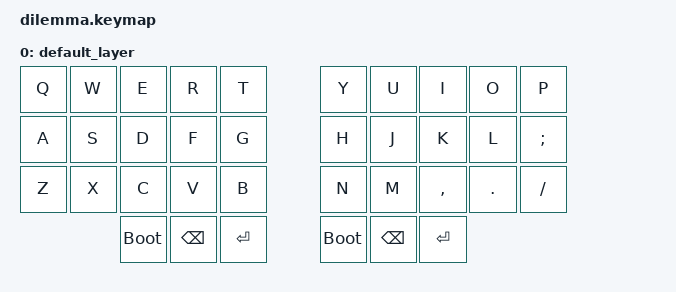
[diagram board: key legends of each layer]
/*
 * Copyright (c) 2024 burkfers
 *
 * SPDX-License-Identifier: MIT
 */

#include <behaviors.dtsi>
#include <dt-bindings/zmk/keys.h>

/ {
    keymap {
        compatible = "zmk,keymap";

        default_layer {
            bindings = <
// ╭──────────────┬─────────────┬─────────────┬─────────────┬─────────────╮   ╭─────────────┬─────────────┬─────────────┬─────────────┬─────────────╮
      &kp Q         &kp W         &kp E         &kp R         &kp T             &kp Y         &kp U         &kp I         &kp O         &kp P  
// ├──────────────┼─────────────┼─────────────┼─────────────┼─────────────┤   ├─────────────┼─────────────┼─────────────┼─────────────┼─────────────┤
      &kp A         &kp S         &kp D         &kp F         &kp G             &kp H         &kp J         &kp K         &kp L         &kp SEMI   
// ├──────────────┼─────────────┼─────────────┼─────────────┼─────────────┤   ├─────────────┼─────────────┼─────────────┼─────────────┼─────────────┤
      &kp Z         &kp X         &kp C         &kp V         &kp B             &kp N         &kp M         &kp COMMA     &kp DOT       &kp SLASH 
// ╰──────────────┴─────────────┼─────────────┼─────────────┼─────────────┤   ├─────────────┼─────────────┼─────────────┼─────────────┴─────────────╯
                                  &bootloader   &kp BACKSPACE &kp RET           &bootloader   &kp BACKSPACE &kp RET       
//                              ╰─────────────┴─────────────┴─────────────╯   ╰─────────────┴─────────────┴─────────────╯  
            >;
        };
    };
};
